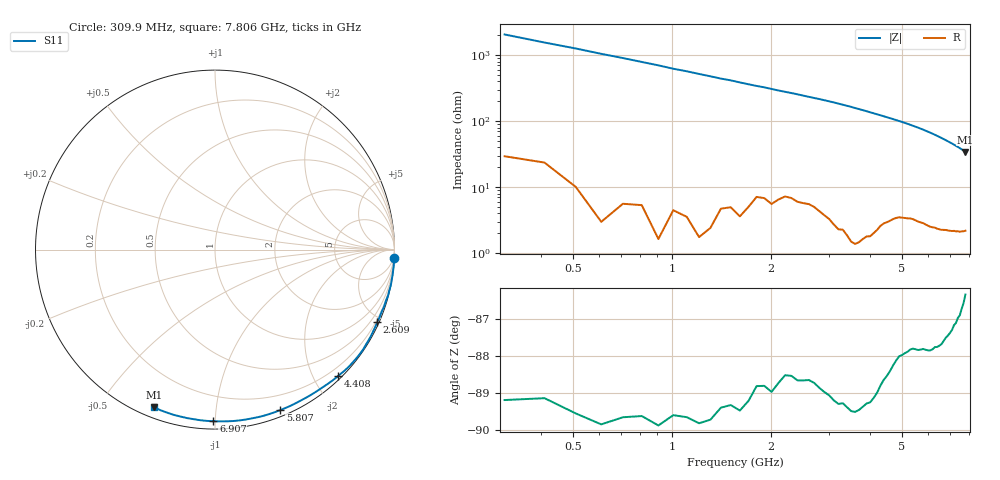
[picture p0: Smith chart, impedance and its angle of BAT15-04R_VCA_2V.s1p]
! Infineon Technologies  Discrete & RF Semiconductors
! BAT15-04R
! VCA = 2 V
! One-Port S-Parameters
# Hz  S  MA  R  50
!f  S11
!Hz  Mag  Ang
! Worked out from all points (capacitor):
!   76 points, 309.9 MHz to 7.806 GHz, reference 50 ohm
!   read as one part to ground: C = 249 fF near 309.9 MHz
!   lowest |Z| = 34.3 ohm at 7.806 GHz (marker M1)
!   S11 on the Smith chart (normalised r, x): 309.9 MHz: 1, -41; 2.609 GHz: 0.11, -4.67; 4.408 GHz: 0.06, -2.37; 5.807 GHz: 0.06, -1.49; 6.907 GHz: 0.04, -0.99; 7.806 GHz: 0.04, -0.68
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3.0985e8  0.9993 -2.8
9.0955e8  0.9997 -8.1
1.30935e9  0.999 -11.9
1.6092e9  0.9976 -14.7
2.009e9  0.9943 -18.4
2.2089e9  0.991 -20.3
2.6087e9  0.9904 -24.1
2.90855e9  0.9918 -27.1
3.2084e9  0.9938 -30.3
3.50825e9  0.995 -33.8
3.8081e9  0.9932 -37.6
4.10795e9  0.9899 -41.6
4.4078e9  0.9831 -45.7
4.70765e9  0.9769 -49.9
5.0075e9  0.9717 -54.4
5.30735e9  0.9679 -59.1
5.50725e9  0.9668 -62.5
5.8071e9  0.9652 -67.8
6.007e9  0.965 -71.7
6.2069e9  0.9638 -75.6
6.50675e9  0.9614 -81.9
6.70665e9  0.9589 -86.2
6.90655e9  0.9565 -90.6
7.10645e9  0.9542 -95.0
7.30635e9  0.9515 -99.5
7.50625e9  0.949 -104.2
7.70615e9  0.945 -108.8
7.8061e9  0.9423 -111.2
